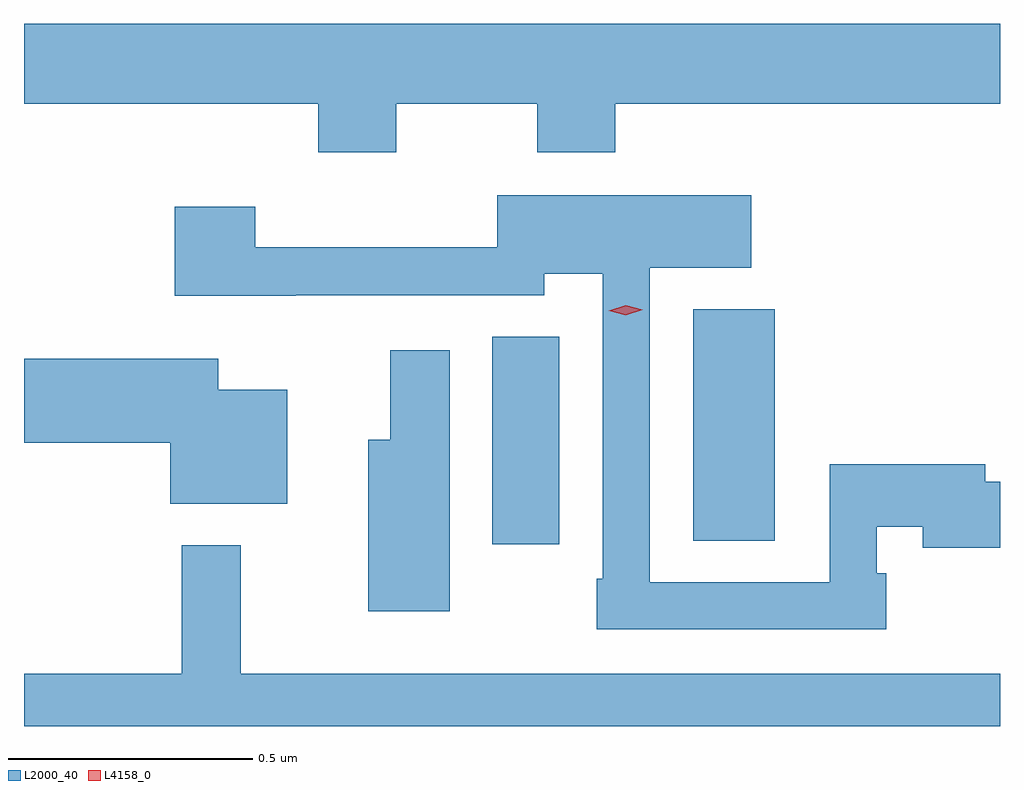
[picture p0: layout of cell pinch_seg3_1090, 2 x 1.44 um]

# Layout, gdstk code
import gdstk
lib = gdstk.Library(unit=1e-6, precision=1e-09)
def R(c, l, rs):  # rectangles x0, y0, x1, y1
    for r in rs: c.add(gdstk.rectangle(r[:2], r[2:], *l))
def P(c, l, *ps):  # polygons
    for p in ps: c.add(gdstk.Polygon(p, *l))
L2000_40 = (2000, 40)
L4158_0 = (4158, 0)

pinch_seg3_1090 = lib.new_cell('pinch_seg3_1090')
R(pinch_seg3_1090, L2000_40, [(251.93,746.634,252.067,747.059), (252.341,746.641,252.508,747.115)])
P(pinch_seg3_1090, L2000_40, [(251.733,747.536),(252.022,747.536),(252.022,747.437),(252.182,747.437),(252.182,747.536),(252.97,747.536),(252.97,747.7),(250.97,747.7),(250.97,747.536),(251.573,747.536),(251.573,747.437),(251.733,747.437)],
  [(252.737,746.574),(252.717,746.574),(252.717,746.67),(252.812,746.67),(252.812,746.627),(252.97,746.627),(252.97,746.762),(252.94,746.762),(252.94,746.798),(252.621,746.798),(252.621,746.556),(252.252,746.556),(252.252,747.2),(252.46,747.2),(252.46,747.349),(251.94,747.349),(251.94,747.242),(251.444,747.242),(251.444,747.325),(251.279,747.325),(251.279,747.143),(251.527,747.143),(251.527,747.144),(252.036,747.144),(252.036,747.188),(252.156,747.188),(252.156,746.563),(252.144,746.563),(252.144,746.46),(252.737,746.46)],
  [(251.842,747.031),(251.72,747.031),(251.72,746.848),(251.675,746.848),(251.675,746.496),(251.842,746.496)],
  [(251.509,746.95),(251.368,746.95),(251.368,747.014),(250.97,747.014),(250.97,746.842),(251.27,746.842),(251.27,746.717),(251.509,746.717)],
  [(252.97,746.368),(251.414,746.368),(251.414,746.632),(251.293,746.632),(251.293,746.368),(250.97,746.368),(250.97,746.261),(252.97,746.261)])
P(pinch_seg3_1090, L4158_0, [(252.203,747.103),(252.168,747.112),(252.168,747.112),(252.168,747.112),(252.203,747.123),(252.238,747.114),(252.238,747.114),(252.238,747.114)])

lib.write_gds('pinch_seg3_1090.gds')
